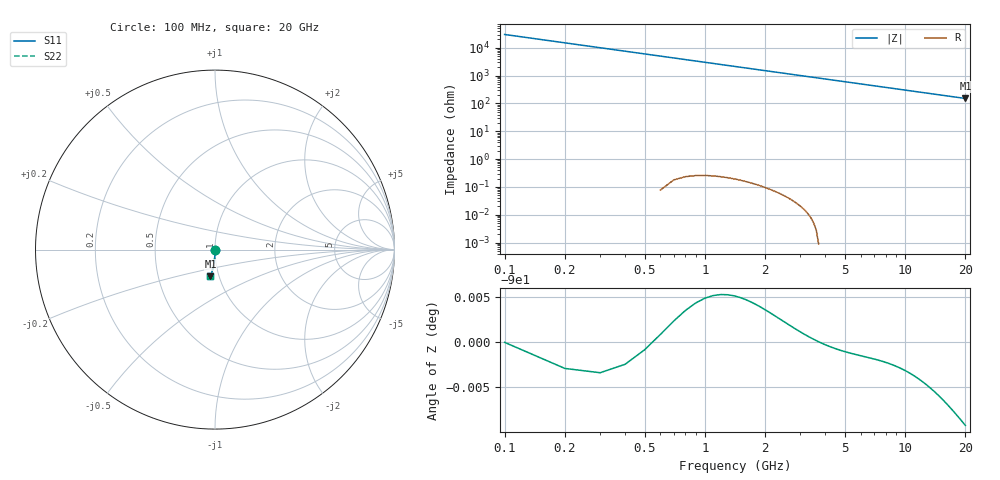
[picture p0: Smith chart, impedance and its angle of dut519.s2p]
! Touchstone file exported from HFSS 2026.1.0
!  File:  C:/ffzhzh/LocalFiles/Ansys_Project_Files/temp_train_TSV_519_1783023472_55676.aedt
!  Generated:  04:19:11 AM Jul  3, 2026
!  Design:  TSV
!  Project:  temp_train_TSV_519_1783023472_55676
! Variables:
!  h_bsmrdl = 2um
!  h_ox = 20um
!  h_rdl = 5um
!  h_sub = 54.34um
!  h_tmrdl = 5um
!  h_tsv = 54.34um
!  h_via = 3um
!  l_bsmrdl = 300um
!  l_sub = 427.12um
!  l_tmrdl = 200um
!  m_sub = 200um
!  pitch = 28.62um
!  r_tsv = 13.56um
!  s_tmrdl = 10um
!  w_bsmrdl = 18um
!  w_sub = 500um
!  w_tmrdl = 12um
!  x_tsv_center1 = 206um
!  x_tsv_center2 = 524um
!  x_tsv_center3 = 736um
!  x_tsv_center4 = 1054um
!  x_tsv_center5 = 1266um
!  x_tsv_center6 = 1584um
# GHz S MA R 50.000000
! Terminal data exported
! Port[1] = TSV1_1_T1
! Port[2] = TSV1_1_T2
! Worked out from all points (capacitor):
!   200 points, 100 MHz to 20 GHz, reference 50 ohm
!   read as one part in shunt: C = 52.7 fF near 200 MHz
!   lowest |Z| = 151 ohm at 20 GHz (marker M1)
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0.1  0.0007152 -83.6  0.9999 -0.1  0.9999 -0.1  0.0007152 -83.6
! Gamma 0 0 0 0
! Port Impedance 50 0 50 0
0.2  0.00143 -86.1  0.9999 -0.1  0.9999 -0.1  0.00143 -86.1
0.3  0.002156 -86.8  0.9999 -0.2  0.9999 -0.2  0.002156 -86.8
0.4  0.002892 -87.1  0.9998 -0.2  0.9998 -0.2  0.002892 -87.1
0.5  0.003636 -87.3  0.9998 -0.3  0.9998 -0.3  0.003636 -87.3
0.7  0.005142 -87.7  0.9997 -0.4  0.9997 -0.4  0.005142 -87.7
0.8  0.0059 -87.9  0.9997 -0.4  0.9997 -0.4  0.0059 -87.9
1  0.007419 -88.2  0.9997 -0.5  0.9997 -0.5  0.007419 -88.2
1.2  0.00894 -88.6  0.9996 -0.6  0.9996 -0.6  0.00894 -88.6
1.4  0.01046 -88.8  0.9996 -0.7  0.9996 -0.7  0.01046 -88.8
1.7  0.01274 -89.2  0.9995 -0.9  0.9995 -0.9  0.01274 -89.2
2  0.01502 -89.5  0.9995 -1.0  0.9995 -1.0  0.01502 -89.5
2.7  0.02034 -90.1  0.9993 -1.4  0.9993 -1.4  0.02034 -90.1
3.5  0.02643 -90.7  0.9991 -1.8  0.9991 -1.8  0.02643 -90.7
4.2  0.03176 -91.1  0.9989 -2.2  0.9989 -2.2  0.03176 -91.1
5  0.03785 -91.6  0.9986 -2.6  0.9986 -2.6  0.03785 -91.6
6.8  0.05157 -92.6  0.9979 -3.5  0.9979 -3.5  0.05157 -92.6
8.3  0.06299 -93.5  0.9971 -4.2  0.9971 -4.2  0.06299 -93.5
10.1  0.07667 -94.4  0.9961 -5.2  0.9961 -5.2  0.07667 -94.4
13.4  0.1016 -96.2  0.9937 -6.8  0.9937 -6.8  0.1016 -96.2
16.7  0.1264 -97.9  0.9907 -8.5  0.9907 -8.5  0.1264 -97.9
20  0.1509 -99.6  0.9871 -10.1  0.9871 -10.1  0.1509 -99.6
